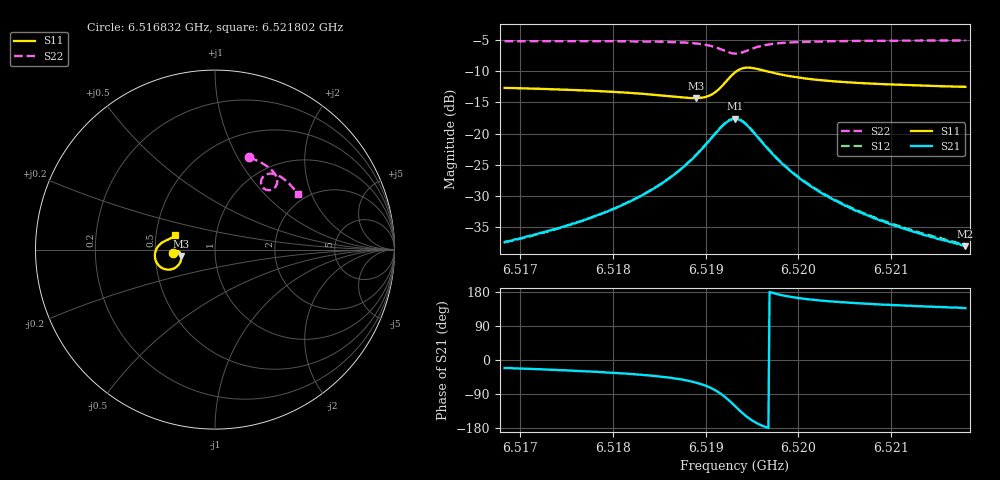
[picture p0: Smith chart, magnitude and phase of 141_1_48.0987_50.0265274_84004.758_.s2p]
#  HZ  S  RI  R  50.00
! Rohde & Schwarz Vector Network Analyzer
! Rohde-Schwarz,ZNB20-2Port,1311601062101988,3.16
! Created: UTC 12/23/2023, 3:48:45 AM
! freq[Hz]  re:S11  im:S11  re:S21  im:S21  re:S12  im:S12  re:S22  im:S22
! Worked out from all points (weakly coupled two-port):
!   401 points, 6.516832 GHz to 6.521802 GHz, reference 50 ohm
!   highest |S21| = -17.62 dB at 6.519317 GHz (marker M1); lowest = -38.0 dB at 6.521802 GHz (marker M2)
!   lowest |S11| = -14.3 dB at 6.518894 GHz (marker M3), VSWR 1.48, Z = 34 - j2.55 ohm
!   |S11| at or under -10 dB: start of sweep to 6.519334 GHz; 6.519653 GHz to end of sweep
!   |S22| runs from -7.2 to -5.1 dB; largest |S21 - S12| = 0.0041
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6.5168316e9  -0.2315 -0.0202  0.0126 -0.00487  0.0128 -0.00434  0.1913 0.5134
6.5173162e9  -0.2265 -0.013  0.0152 -0.00731  0.0152 -0.00669  0.2273 0.4992
6.5176641e9  -0.2217 -0.00865  0.0173 -0.00986  0.0178 -0.0092  0.2531 0.4866
6.5181238e9  -0.2132 -0.00599  0.0222 -0.0159  0.0227 -0.0152  0.2875 0.4659
6.5184966e9  -0.2027 -0.00968  0.028 -0.0265  0.029 -0.0257  0.3162 0.4426
6.5187078e9  -0.195 -0.0182  0.0322 -0.0383  0.0335 -0.0376  0.3325 0.4235
6.5188942e9  -0.1888 -0.0361  0.0339 -0.0578  0.0359 -0.0571  0.3442 0.3987
6.519006e9  -0.1893 -0.0556  0.0302 -0.0766  0.0329 -0.0762  0.3468 0.3775
6.519093e9  -0.1972 -0.0768  0.0198 -0.0958  0.0227 -0.096  0.3413 0.3574
6.5192172e9  -0.2359 -0.1079  -0.0197 -0.1204  -0.0163 -0.1219  0.3119 0.3326
6.5192669e9  -0.2626 -0.1115  -0.0441 -0.121  -0.041 -0.1232  0.2931 0.3315
6.5193166e9  -0.291 -0.1044  -0.069 -0.1119  -0.0661 -0.1147  0.2746 0.3391
6.5193663e9  -0.3149 -0.0867  -0.0883 -0.0938  -0.0862 -0.0971  0.2613 0.3541
6.5194284e9  -0.3318 -0.0569  -0.1002 -0.066  -0.099 -0.0694  0.2563 0.3769
6.5195403e9  -0.3314 -0.00862  -0.0946 -0.025  -0.0945 -0.0279  0.2705 0.408
6.5196521e9  -0.3157 0.0198  -0.0781 -0.00347  -0.0786 -0.00578  0.2928 0.4209
6.5199006e9  -0.2852 0.0448  -0.0499 0.0113  -0.0508 0.00996  0.3327 0.4206
6.5201491e9  -0.2668 0.0535  -0.0349 0.0133  -0.0357 0.0124  0.3599 0.409
6.5205467e9  -0.2497 0.0611  -0.0226 0.0123  -0.0231 0.0119  0.3917 0.3869
6.5209816e9  -0.2382 0.0676  -0.0156 0.0107  -0.0163 0.0105  0.4191 0.3612
6.5213295e9  -0.2312 0.0724  -0.0124 0.00969  -0.0129 0.00951  0.4382 0.3402
6.5218016e9  -0.2232 0.0789  -0.00915 0.00865  -0.00969 0.00847  0.4612 0.3111
